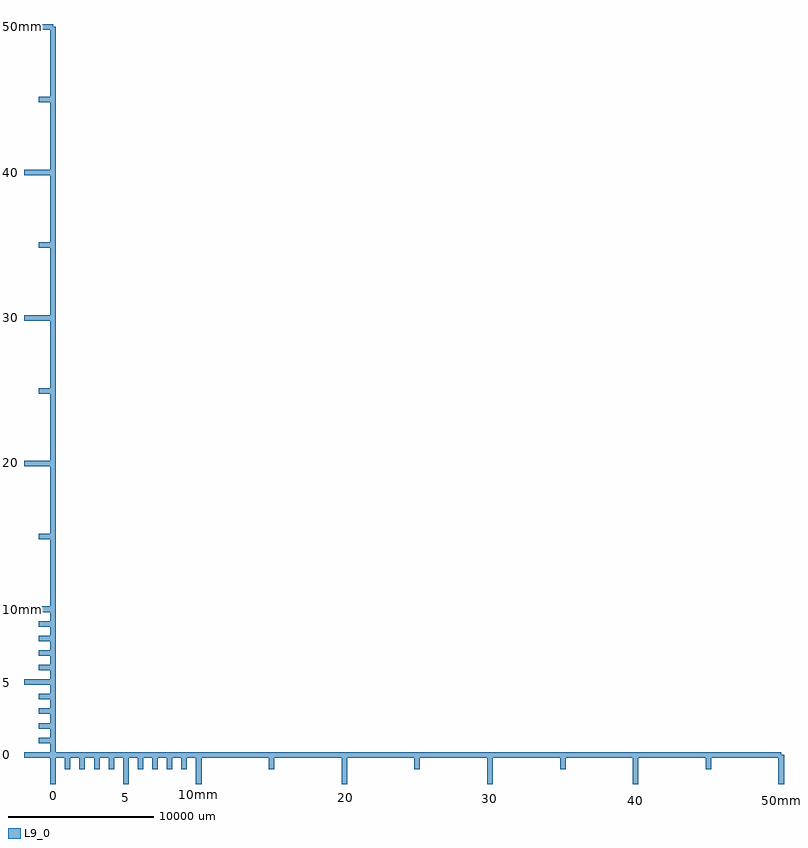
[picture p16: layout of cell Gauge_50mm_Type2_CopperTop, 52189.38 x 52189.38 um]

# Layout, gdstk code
import gdstk
lib = gdstk.Library(unit=1e-6, precision=1e-09)
L9_0 = (9, 0)

gauge_50mm_type2_coppert = lib.new_cell('Gauge_50mm_Type2_CopperTop')
gauge_50mm_type2_coppert.add(gdstk.FlexPath([(9999.98,0),(9999.98,-1998.98)], 380.998, ends="flush", simple_path=True, layer=9, datatype=0))  # L9_0
gauge_50mm_type2_coppert.add(gdstk.FlexPath([(0,0),(9999.98,0)], 380.998, ends="flush", simple_path=True, layer=9, datatype=0))  # L9_0
gauge_50mm_type2_coppert.add(gdstk.FlexPath([(0,0),(0,-1998.98)], 380.998, ends="flush", simple_path=True, layer=9, datatype=0))  # L9_0
gauge_50mm_type2_coppert.add(gdstk.FlexPath([(5001.26,0),(5001.26,-1998.98)], 380.998, ends="flush", simple_path=True, layer=9, datatype=0))  # L9_0
gauge_50mm_type2_coppert.add(gdstk.FlexPath([(1000.76,0),(1000.76,-1000.76)], 380.998, ends="flush", simple_path=True, layer=9, datatype=0))  # L9_0
gauge_50mm_type2_coppert.add(gdstk.FlexPath([(1998.98,0),(1998.98,-1000.76)], 380.998, ends="flush", simple_path=True, layer=9, datatype=0))  # L9_0
gauge_50mm_type2_coppert.add(gdstk.FlexPath([(2999.74,0),(2999.74,-1000.76)], 380.998, ends="flush", simple_path=True, layer=9, datatype=0))  # L9_0
gauge_50mm_type2_coppert.add(gdstk.FlexPath([(4000.5,0),(4000.5,-1000.76)], 380.998, ends="flush", simple_path=True, layer=9, datatype=0))  # L9_0
gauge_50mm_type2_coppert.add(gdstk.FlexPath([(5999.48,0),(5999.48,-1000.76)], 380.998, ends="flush", simple_path=True, layer=9, datatype=0))  # L9_0
gauge_50mm_type2_coppert.add(gdstk.FlexPath([(7000.24,0),(7000.24,-1000.76)], 380.998, ends="flush", simple_path=True, layer=9, datatype=0))  # L9_0
gauge_50mm_type2_coppert.add(gdstk.FlexPath([(8001,0),(8001,-1000.76)], 380.998, ends="flush", simple_path=True, layer=9, datatype=0))  # L9_0
gauge_50mm_type2_coppert.add(gdstk.FlexPath([(8999.22,0),(8999.22,-1000.76)], 380.998, ends="flush", simple_path=True, layer=9, datatype=0))  # L9_0
gauge_50mm_type2_coppert.add(gdstk.FlexPath([(15001.24,0),(15001.24,-1000.76)], 380.998, ends="flush", simple_path=True, layer=9, datatype=0))  # L9_0
gauge_50mm_type2_coppert.add(gdstk.FlexPath([(19999.96,0),(19999.96,-1998.98)], 380.998, ends="flush", simple_path=True, layer=9, datatype=0))  # L9_0
gauge_50mm_type2_coppert.add(gdstk.FlexPath([(25001.22,0),(25001.22,-1000.76)], 380.998, ends="flush", simple_path=True, layer=9, datatype=0))  # L9_0
gauge_50mm_type2_coppert.add(gdstk.FlexPath([(29999.94,0),(29999.94,-1998.98)], 380.998, ends="flush", simple_path=True, layer=9, datatype=0))  # L9_0
gauge_50mm_type2_coppert.add(gdstk.FlexPath([(35001.2,0),(35001.2,-1000.76)], 380.998, ends="flush", simple_path=True, layer=9, datatype=0))  # L9_0
gauge_50mm_type2_coppert.add(gdstk.FlexPath([(39999.92,0),(39999.92,-1998.98)], 380.998, ends="flush", simple_path=True, layer=9, datatype=0))  # L9_0
gauge_50mm_type2_coppert.add(gdstk.FlexPath([(45001.18,0),(45001.18,-1000.76)], 380.998, ends="flush", simple_path=True, layer=9, datatype=0))  # L9_0
gauge_50mm_type2_coppert.add(gdstk.FlexPath([(49999.9,0),(49999.9,-1998.98)], 380.998, ends="flush", simple_path=True, layer=9, datatype=0))  # L9_0
gauge_50mm_type2_coppert.add(gdstk.FlexPath([(9999.98,0),(49999.9,0)], 380.998, ends="flush", simple_path=True, layer=9, datatype=0))  # L9_0
gauge_50mm_type2_coppert.add(gdstk.FlexPath([(0,0),(0,49999.9)], 380.998, ends="flush", simple_path=True, layer=9, datatype=0))  # L9_0
gauge_50mm_type2_coppert.add(gdstk.FlexPath([(0,49999.9),(-1998.98,49999.9)], 380.998, ends="flush", simple_path=True, layer=9, datatype=0))  # L9_0
gauge_50mm_type2_coppert.add(gdstk.FlexPath([(0,0),(-1998.98,0)], 380.998, ends="flush", simple_path=True, layer=9, datatype=0))  # L9_0
gauge_50mm_type2_coppert.add(gdstk.FlexPath([(0,5001.26),(-1998.98,5001.26)], 380.998, ends="flush", simple_path=True, layer=9, datatype=0))  # L9_0
gauge_50mm_type2_coppert.add(gdstk.FlexPath([(0,1000.76),(-1000.76,1000.76)], 380.998, ends="flush", simple_path=True, layer=9, datatype=0))  # L9_0
gauge_50mm_type2_coppert.add(gdstk.FlexPath([(0,1998.98),(-1000.76,1998.98)], 380.998, ends="flush", simple_path=True, layer=9, datatype=0))  # L9_0
gauge_50mm_type2_coppert.add(gdstk.FlexPath([(0,2999.74),(-1000.76,2999.74)], 380.998, ends="flush", simple_path=True, layer=9, datatype=0))  # L9_0
gauge_50mm_type2_coppert.add(gdstk.FlexPath([(0,4000.5),(-1000.76,4000.5)], 380.998, ends="flush", simple_path=True, layer=9, datatype=0))  # L9_0
gauge_50mm_type2_coppert.add(gdstk.FlexPath([(0,9999.98),(-1998.98,9999.98)], 380.998, ends="flush", simple_path=True, layer=9, datatype=0))  # L9_0
gauge_50mm_type2_coppert.add(gdstk.FlexPath([(0,5999.48),(-1000.76,5999.48)], 380.998, ends="flush", simple_path=True, layer=9, datatype=0))  # L9_0
gauge_50mm_type2_coppert.add(gdstk.FlexPath([(0,7000.24),(-1000.76,7000.24)], 380.998, ends="flush", simple_path=True, layer=9, datatype=0))  # L9_0
gauge_50mm_type2_coppert.add(gdstk.FlexPath([(0,8001),(-1000.76,8001)], 380.998, ends="flush", simple_path=True, layer=9, datatype=0))  # L9_0
gauge_50mm_type2_coppert.add(gdstk.FlexPath([(0,8999.22),(-1000.76,8999.22)], 380.998, ends="flush", simple_path=True, layer=9, datatype=0))  # L9_0
gauge_50mm_type2_coppert.add(gdstk.FlexPath([(0,15001.24),(-1000.76,15001.24)], 380.998, ends="flush", simple_path=True, layer=9, datatype=0))  # L9_0
gauge_50mm_type2_coppert.add(gdstk.FlexPath([(0,19999.96),(-1998.98,19999.96)], 380.998, ends="flush", simple_path=True, layer=9, datatype=0))  # L9_0
gauge_50mm_type2_coppert.add(gdstk.FlexPath([(0,25001.22),(-1000.76,25001.22)], 380.998, ends="flush", simple_path=True, layer=9, datatype=0))  # L9_0
gauge_50mm_type2_coppert.add(gdstk.FlexPath([(0,29999.94),(-1998.98,29999.94)], 380.998, ends="flush", simple_path=True, layer=9, datatype=0))  # L9_0
gauge_50mm_type2_coppert.add(gdstk.FlexPath([(0,35001.2),(-1000.76,35001.2)], 380.998, ends="flush", simple_path=True, layer=9, datatype=0))  # L9_0
gauge_50mm_type2_coppert.add(gdstk.FlexPath([(0,39999.92),(-1998.98,39999.92)], 380.998, ends="flush", simple_path=True, layer=9, datatype=0))  # L9_0
gauge_50mm_type2_coppert.add(gdstk.FlexPath([(0,45001.18),(-1000.76,45001.18)], 380.998, ends="flush", simple_path=True, layer=9, datatype=0))  # L9_0
gauge_50mm_type2_coppert.add(gdstk.Label('10mm', (9999.98,-2700.02), layer=9, texttype=0))
gauge_50mm_type2_coppert.add(gdstk.Label('0', (0,-2799.08), layer=9, texttype=0))
gauge_50mm_type2_coppert.add(gdstk.Label('5', (4998.72,-2900.68), layer=9, texttype=0))
gauge_50mm_type2_coppert.add(gdstk.Label('20', (20099.02,-2900.68), layer=9, texttype=0))
gauge_50mm_type2_coppert.add(gdstk.Label('30', (29999.94,-2999.74), layer=9, texttype=0))
gauge_50mm_type2_coppert.add(gdstk.Label('40', (39999.92,-3101.34), layer=9, texttype=0))
gauge_50mm_type2_coppert.add(gdstk.Label('50mm', (49999.9,-3101.34), layer=9, texttype=0))
gauge_50mm_type2_coppert.add(gdstk.Label('50mm', (-3197.86,50002.44), layer=9, texttype=0))
gauge_50mm_type2_coppert.add(gdstk.Label('40', (-3197.86,40002.46), layer=9, texttype=0))
gauge_50mm_type2_coppert.add(gdstk.Label('30', (-3299.46,30002.48), layer=9, texttype=0))
gauge_50mm_type2_coppert.add(gdstk.Label('20', (-3398.52,20101.56), layer=9, texttype=0))
gauge_50mm_type2_coppert.add(gdstk.Label('5', (-3398.52,5001.26), layer=9, texttype=0))
gauge_50mm_type2_coppert.add(gdstk.Label('0', (-3500.12,2.54), layer=9, texttype=0))
gauge_50mm_type2_coppert.add(gdstk.Label('10mm', (-3599.18,10002.52), layer=9, texttype=0))
gauge_50mm_type2_coppert.add(gdstk.Label('type', (24000.46,-6400.8), layer=9, texttype=0))
gauge_50mm_type2_coppert.add(gdstk.Label('devicename', (20500.34,-9999.98), layer=9, texttype=0))

lib.write_gds('Gauge_50mm_Type2_CopperTop.gds')
